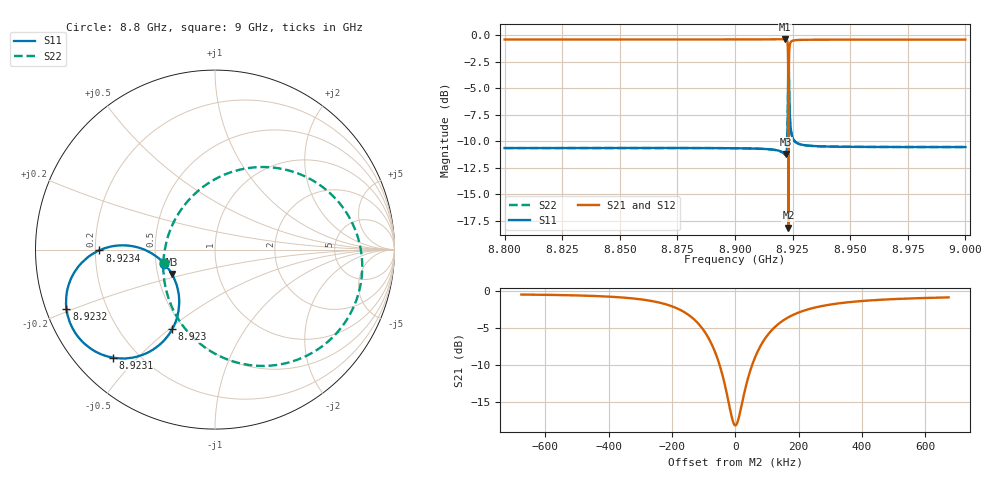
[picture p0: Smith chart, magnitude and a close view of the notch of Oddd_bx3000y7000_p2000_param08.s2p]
! Sonnet Data File
! From: emgraph Version : 16.52
! From Project: Resonator2
! Data is De-embedded
! Data File Written: 10/05/2017 10:46:05
!< HDATE 10/04/2017 20:26:48
!< MDATE 10/05/2017 00:36:07
!< PARAMS
!< gap = 66.0
!< Length = 400.0
!< Pwid1 = 2000.0
!< Pwid2 = 2000.0
!< END PARAMS
# GHZ S MA R 50.00000
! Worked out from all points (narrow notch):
!   1595 points, 8.8 GHz to 9 GHz, reference 50 ohm
!   highest |S21| = -0.35 dB at 8.9216 GHz (marker M1); lowest = -18.1 dB at 8.9232 GHz (marker M2)
!   notch at M2: 17.7 dB deep, 114 kHz wide at half that depth
!   lowest |S11| = -11.2 dB at 8.9219 GHz (marker M3), VSWR 1.76, Z = 29.7 - j8.76 ohm
!   |S11| at or under -10 dB: start of sweep to 8.9227 GHz; 8.926 GHz to end of sweep
!   |S22| runs from -11.3 to -1.6 dB; largest |S21 - S12| = 0
!   S11 on the Smith chart (normalised r, x): 8.8 GHz: 0.55, -0.10; 8.923 GHz: 0.43, -0.51; 8.9231 GHz: 0.11, -0.43; 8.9232 GHz: 0.06, -0.19; 8.9234 GHz: 0.22, -0.00; 9 GHz: 0.55, -0.08
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8.8  0.2942 -164.5  0.9558 -75.0  0.9558 -75.0  0.2942 -165.6
!< P1 F=8.8 Eeff=(5.36817953 -2.3731e-5) Z0=(35.9853883 8.0522e-5) R=0.0 C=0.0
!< P2 F=8.8 Eeff=(5.36817953 -2.3731e-5) Z0=(35.9853883 8.0522e-5) R=0.0 C=0.0
8.8334  0.2944 -164.7  0.9557 -75.3  0.9557 -75.3  0.2944 -165.9
8.8668  0.2945 -164.8  0.9557 -75.6  0.9557 -75.6  0.2945 -166.4
8.9  0.2937 -164.7  0.9559 -76.1  0.9559 -76.1  0.2937 -167.5
8.916991  0.2888 -162.7  0.9573 -77.2  0.9573 -77.2  0.2887 -171.6
8.92163  0.2768 -153.5  0.96 -81.0  0.96 -81.0  0.2746 171.6
8.921929  0.2761 -150.4  0.9598 -82.2  0.9598 -82.2  0.2726 166.1
8.922682  0.3158 -130.1  0.9411 -91.0  0.9411 -91.0  0.2978 126.2
8.922856  0.3872 -121.4  0.9054 -98.0  0.9054 -98.0  0.3563 100.5
8.922973  0.504 -118.3  0.8296 -107.2  0.8296 -107.2  0.4586 74.4
8.92307  0.682 -123.0  0.655 -120.5  0.655 -120.5  0.6204 43.8
8.923136  0.8291 -133.5  0.4047 -130.9  0.4047 -130.9  0.7581 16.3
8.923203  0.9065 -149.6  0.124 -80.8  0.124 -80.8  0.8357 -15.9
8.923239  0.8913 -158.2  0.239 -33.9  0.239 -33.9  0.8257 -32.4
8.923305  0.7998 -170.3  0.5045 -34.1  0.5045 -34.1  0.7481 -57.6
8.92341  0.6441 -179.6  0.7282 -46.4  0.7282 -46.4  0.6109 -84.5
8.92355  0.5182 177.4  0.8399 -55.9  0.8399 -55.9  0.4988 -105.1
8.9238  0.4199 178.7  0.902 -63.5  0.902 -63.5  0.4106 -124.2
8.925022  0.3293 -173.4  0.9436 -71.7  0.9436 -71.7  0.3279 -149.9
8.9334  0.3011 -167.3  0.9536 -75.3  0.9536 -75.3  0.301 -163.3
8.9668  0.2976 -166.3  0.9547 -76.1  0.9547 -76.1  0.2976 -165.9
9  0.2975 -166.4  0.9547 -76.5  0.9547 -76.5  0.2975 -166.5
